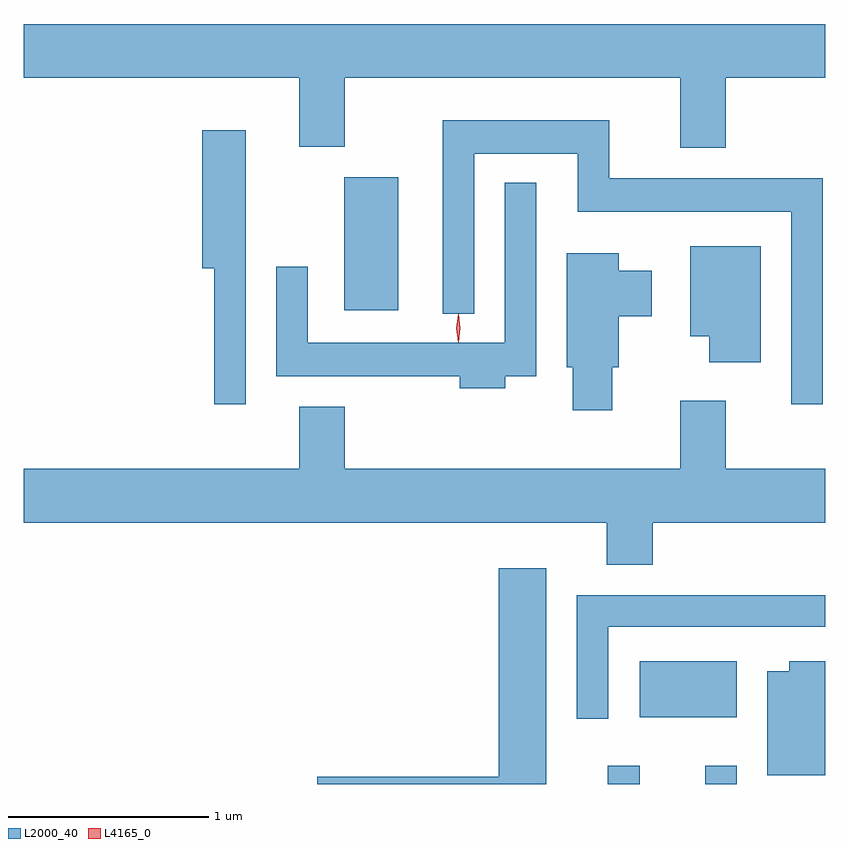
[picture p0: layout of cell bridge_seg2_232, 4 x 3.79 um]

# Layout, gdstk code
import gdstk
lib = gdstk.Library(unit=1e-6, precision=1e-09)
def R(c, l, rs):  # rectangles x0, y0, x1, y1
    for r in rs: c.add(gdstk.rectangle(r[:2], r[2:], *l))
def P(c, l, *ps):  # polygons
    for p in ps: c.add(gdstk.Polygon(p, *l))
L2000_40 = (2000, 40)
L4165_0 = (4165, 0)

bridge_seg2_232 = lib.new_cell('bridge_seg2_232')
R(bridge_seg2_232, L2000_40, [(550.321,1066.992,550.479,1067.083), (550.806,1066.992,550.964,1067.083), (550.481,1067.326,550.964,1067.604), (549.006,1069.356,549.274,1070.019)])
P(bridge_seg2_232, L2000_40, [(550.909,1070.516),(551.406,1070.516),(551.406,1070.784),(547.406,1070.784),(547.406,1070.516),(548.781,1070.516),(548.781,1070.171),(549.009,1070.171),(549.009,1070.516),(550.681,1070.516),(550.681,1070.166),(550.909,1070.166)],
  [(551.394,1070.014),(550.329,1070.014),(550.329,1070.304),(549.496,1070.304),(549.496,1069.338),(549.654,1069.338),(549.654,1070.136),(550.171,1070.136),(550.171,1069.846),(551.236,1069.846),(551.236,1068.888),(551.394,1068.888)],
  [(548.514,1070.254),(548.296,1070.254),(548.296,1069.566),(548.356,1069.566),(548.356,1068.888),(548.514,1068.888)],
  [(549.809,1069.026),(549.964,1069.026),(549.964,1069.993),(549.806,1069.993),(549.806,1069.194),(548.824,1069.194),(548.824,1069.573),(548.666,1069.573),(548.666,1069.026),(549.581,1069.026),(549.581,1068.966),(549.809,1068.966)],
  [(551.084,1069.674),(550.731,1069.674),(550.731,1069.226),(550.826,1069.226),(550.826,1069.096),(551.084,1069.096)],
  [(550.344,1069.071),(550.374,1069.071),(550.374,1069.326),(550.539,1069.326),(550.539,1069.554),(550.374,1069.554),(550.374,1069.639),(550.116,1069.639),(550.116,1069.071),(550.146,1069.071),(550.146,1068.856),(550.344,1068.856)],
  [(550.544,1068.296),(551.406,1068.296),(551.406,1068.564),(550.909,1068.564),(550.909,1068.904),(550.681,1068.904),(550.681,1068.564),(549.009,1068.564),(549.009,1068.874),(548.781,1068.874),(548.781,1068.564),(547.406,1068.564),(547.406,1068.296),(550.316,1068.296),(550.316,1068.086),(550.544,1068.086)],
  [(550.014,1068.069),(549.776,1068.069),(549.776,1067.029),(548.871,1067.029),(548.871,1066.992),(550.014,1066.992)],
  [(550.324,1067.776),(551.406,1067.776),(551.406,1067.934),(550.166,1067.934),(550.166,1067.318),(550.324,1067.318)],
  [(551.406,1067.604),(551.226,1067.604),(551.226,1067.554),(551.116,1067.554),(551.116,1067.036),(551.406,1067.036)])
P(bridge_seg2_232, L4165_0, [(549.574,1069.197),(549.565,1069.266),(549.574,1069.336),(549.575,1069.336),(549.576,1069.336),(549.585,1069.266),(549.576,1069.197),(549.575,1069.197)],
  [(549.575,1069.199),(549.575,1069.2),(549.565,1069.266),(549.574,1069.332),(549.575,1069.333),(549.575,1069.332),(549.585,1069.266),(549.576,1069.2)])

lib.write_gds('bridge_seg2_232.gds')
